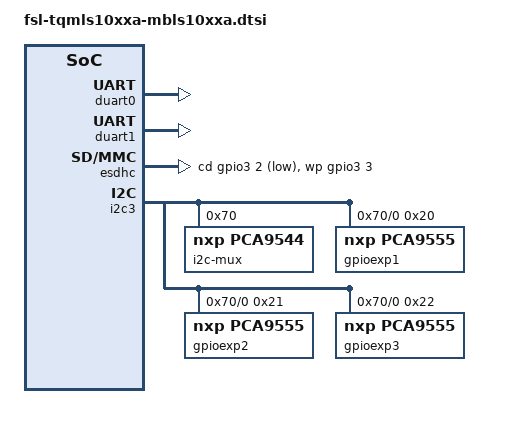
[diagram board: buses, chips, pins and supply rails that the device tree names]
// SPDX-License-Identifier: (GPL-2.0-or-later OR MIT)
/*
 * Copyright (c) 2023 TQ-Systems GmbH <u-boot@ew.tq-group.com>,
 * D-82229 Seefeld, Germany.
 * Author: Gregor Herburger
 */

#include <dt-bindings/net/ti-dp83867.h>
#include <dt-bindings/gpio/gpio.h>

/ {
	chosen {
		stdout-path = &duart1;
	};
};

&duart0 {
	status = "okay";
};

&duart1 {
	status = "okay";
};

&esdhc {
	cd-gpios = <&gpio3 2 GPIO_ACTIVE_LOW>;
	wp-gpios = <&gpio3 3 GPIO_ACTIVE_HIGH>;
};

&i2c3 {
	status = "okay";

	i2c-mux@70 {
		compatible = "nxp,pca9544";
		reg = <0x70>;
		#address-cells = <1>;
		#size-cells = <0>;

		i2c@0 {
			#address-cells = <1>;
			#size-cells = <0>;
			reg = <0x0>;

			gpioexp1: pca9555@20 {
				compatible = "nxp,pca9555";
				reg = <0x20>;
				gpio-controller;
				#gpio-cells = <2>;
			};

			gpioexp2: pca9555@21 {
				compatible = "nxp,pca9555";
				reg = <0x21>;
				gpio-controller;
				#gpio-cells = <2>;
			};

			gpioexp3: pca9555@22 {
				compatible = "nxp,pca9555";
				reg = <0x22>;
				gpio-controller;
				#gpio-cells = <2>;
			};
		};

		i2c@1 {
			#address-cells = <1>;
			#size-cells = <0>;
			reg = <0x1>;
		};

		i2c@2 {
			#address-cells = <1>;
			#size-cells = <0>;
			reg = <0x2>;
		};

		i2c@3 {
			#address-cells = <1>;
			#size-cells = <0>;
			reg = <0x3>;
		};
	};
};
